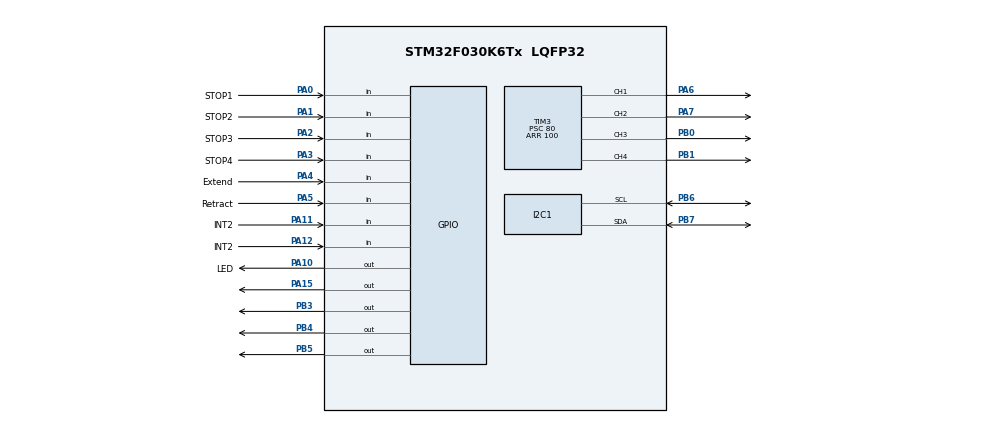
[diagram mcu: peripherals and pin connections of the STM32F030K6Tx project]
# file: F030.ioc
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Mcu.Family=STM32F0
Mcu.Name=STM32F030K6Tx
Mcu.Package=LQFP32
NVIC.TIM14_IRQn=true\:0\:0\:false\:false\:true\:true\:true
PA0.GPIO_Label=STOP1
PA0.Signal=GPIO_Input
PA1.GPIO_Label=STOP2
PA1.Signal=GPIO_Input
PA10.GPIO_Label=LED
PA10.Signal=GPIO_Output
PA11.GPIO_Label=INT2
PA11.Signal=GPIO_Input
PA12.GPIO_Label=INT2
PA12.Signal=GPIO_Input
PA13.Mode=Serial_Wire
PA13.Signal=SYS_SWDIO
PA14.Mode=Serial_Wire
PA14.Signal=SYS_SWCLK
PA15.Signal=GPIO_Output
PA2.GPIO_Label=STOP3
PA2.Signal=GPIO_Input
PA3.GPIO_Label=STOP4
PA3.Signal=GPIO_Input
PA4.GPIO_Label=Extend
PA4.Signal=GPIO_Input
PA5.GPIO_Label=Retract
PA5.Signal=GPIO_Input
PA6.Signal=S_TIM3_CH1
PA7.Signal=S_TIM3_CH2
PB0.Signal=S_TIM3_CH3
PB1.Signal=S_TIM3_CH4
PB3.Signal=GPIO_Output
PB4.Signal=GPIO_Output
PB5.Signal=GPIO_Output
PB6.Mode=I2C
PB6.Signal=I2C1_SCL
PB7.Mode=I2C
PB7.Signal=I2C1_SDA
ProjectManager.HeapSize=0x200
ProjectManager.StackSize=0x400
ProjectManager.TargetToolchain=SW4STM32
SH.S_TIM3_CH1.0=TIM3_CH1,PWM Generation1 CH1
SH.S_TIM3_CH2.0=TIM3_CH2,PWM Generation2 CH2
SH.S_TIM3_CH3.0=TIM3_CH3,PWM Generation3 CH3
SH.S_TIM3_CH4.0=TIM3_CH4,PWM Generation4 CH4
TIM14.Period=36000
TIM14.Prescaler=40000
TIM3.Channel-PWM\ Generation1\ CH1=TIM_CHANNEL_1
TIM3.Channel-PWM\ Generation2\ CH2=TIM_CHANNEL_2
TIM3.Channel-PWM\ Generation3\ CH3=TIM_CHANNEL_3
TIM3.Channel-PWM\ Generation4\ CH4=TIM_CHANNEL_4
TIM3.OCPolarity_1=TIM_OCPOLARITY_LOW
TIM3.OCPolarity_2=TIM_OCPOLARITY_LOW
TIM3.OCPolarity_3=TIM_OCPOLARITY_LOW
TIM3.OCPolarity_4=TIM_OCPOLARITY_LOW
TIM3.Period=100
TIM3.Prescaler=80
TIM3.Pulse-PWM\ Generation1\ CH1=1
TIM3.Pulse-PWM\ Generation2\ CH2=1
TIM3.Pulse-PWM\ Generation3\ CH3=1
TIM3.Pulse-PWM\ Generation4\ CH4=1
VP_TIM14_VS_ClockSourceINT.Mode=Enable_Timer
VP_TIM3_VS_ClockSourceINT.Mode=Internal
board=custom

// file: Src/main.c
/* USER CODE BEGIN Header */
/**
 ******************************************************************************
 * @file           : main.c
 * @brief          : Main program body
 ******************************************************************************
 * @attention
 *
 * <h2><center>&copy; Copyright (c) 2020 STMicroelectronics.
 * All rights reserved.</center></h2>
 *
 * This software component is licensed by ST under BSD 3-Clause license,
 * the "License"; You may not use this file except in compliance with the
 * License. You may obtain a copy of the License at:
 *                        opensource.org/licenses/BSD-3-Clause
 *
 ******************************************************************************
 */
/* USER CODE END Header */

#include "main.h"

/* USER CODE BEGIN PTD */
typedef struct accel {
	int8_t x;
	int8_t y;
	int8_t z;
} acc;

typedef enum error {
	OK = 0, TIMEOUT = 1,
} err;
/* USER CODE END PTD */

I2C_HandleTypeDef hi2c1;

TIM_HandleTypeDef htim3;
TIM_HandleTypeDef htim14;

void SystemClock_Config(void);
static void MX_GPIO_Init(void);
static void MX_TIM3_Init(void);
static void MX_I2C1_Init(void);
static void MX_TIM14_Init(void);
/* USER CODE BEGIN PFP */
acc readacc();
err legstoground();
void c_back_right(uint8_t dir, uint8_t onoff);
void c_back_left(uint8_t dir, uint8_t onoff);
void c_front_right(uint8_t dir, uint8_t onoff);
void c_front_left(uint8_t dir, uint8_t onoff);
err fronttoback();
uint8_t lefttoright();

/* USER CODE END PFP */

/* USER CODE BEGIN 0 */

uint8_t timeout = 0;

void HAL_TIM_PeriodElapsedCallback(TIM_HandleTypeDef *htim) {
	if (htim->Instance == htim14.Instance) {
		timeout = 1;
	}
}

acc readacc() {
	acc axis;
	uint8_t i2cbuffer[8];
	HAL_StatusTypeDef ok = HAL_ERROR;
	//i2cbuffer[0] = 0x28;
	//HAL_I2C_Master_Transmit(&hi2c1,0b0011001<<1,i2cbuffer,1,500);//ask
	//HAL_I2C_Master_Receive(&hi2c1,0b00110011,i2cbuffer,6,500);//get
	while (ok != HAL_OK) {
		ok = HAL_I2C_Mem_Read(&hi2c1, 0b00110010, 0x29, I2C_MEMADD_SIZE_8BIT,
				&i2cbuffer[0], 1, HAL_MAX_DELAY);
	}
	ok = HAL_ERROR;
	while (ok != HAL_OK) {
		ok = HAL_I2C_Mem_Read(&hi2c1, 0b00110010, 0x2b, I2C_MEMADD_SIZE_8BIT,
				&i2cbuffer[1], 1, HAL_MAX_DELAY);
	}
	ok = HAL_ERROR;
	while (ok != HAL_OK) {
		ok = HAL_I2C_Mem_Read(&hi2c1, 0b00110010, 0x2d, I2C_MEMADD_SIZE_8BIT,
				&i2cbuffer[2], 1, HAL_MAX_DELAY);
	}
	//HAL_GPIO_TogglePin(GPIOC,GPIO_PIN_13);
	axis.x = i2cbuffer[0];
	axis.y = i2cbuffer[1];
	axis.z = i2cbuffer[2];
	return axis;
}

err legstoground() {
	acc pos;
	acc init_pos;
	uint8_t kantel_count = 0;
	init_pos = readacc();
	pos = readacc();
	HAL_Delay(1000);
	if (init_pos.y > -3) {
		//start front motors
		init_pos = readacc();
		pos = readacc();
		HAL_TIM_Base_Start_IT(&htim14);
		while (init_pos.y - 2 < pos.y) {
			HAL_GPIO_WritePin(GPIOA, GPIO_PIN_10, 0);
			c_front_left(1, 1);
			HAL_Delay(500);
			c_front_left(1, 0);
			HAL_Delay(500);
			HAL_GPIO_WritePin(GPIOA, GPIO_PIN_10, 1);
			HAL_Delay(500);
			pos = readacc();
			HAL_Delay(1000);
			//wacht tot de grond is geraakt
			if (timeout == 1 || HAL_GPIO_ReadPin(GPIOA, GPIO_PIN_5) == 0) {
				HAL_TIM_Base_Stop_IT(&htim14);
				TIM14->CNT = 0;
				timeout = 0;
				return TIMEOUT;
			}
		}
		HAL_TIM_Base_Stop_IT(&htim14);
		TIM14->CNT = 0;
		c_front_left(0, 1);
		HAL_Delay(500);
		c_front_left(0, 0);
		HAL_Delay(1000);

		init_pos = readacc();
		pos = readacc();
		HAL_TIM_Base_Start_IT(&htim14);
		while (init_pos.y - 2 < pos.y) {
			HAL_GPIO_WritePin(GPIOA, GPIO_PIN_10, 0);
			c_front_right(1, 1);
			HAL_Delay(500);
			c_front_right(1, 0);
			HAL_Delay(500);
			HAL_GPIO_WritePin(GPIOA, GPIO_PIN_10, 1);
			HAL_Delay(500);
			pos = readacc();
			HAL_Delay(1000);
			////wacht tot de grond is geraakt
			if (timeout == 1 || HAL_GPIO_ReadPin(GPIOA, GPIO_PIN_5) == 0) {
				HAL_TIM_Base_Stop_IT(&htim14);
				TIM14->CNT = 0;
				timeout = 0;
				return TIMEOUT;
			}
		}
		HAL_TIM_Base_Stop_IT(&htim14);
		TIM14->CNT = 0;
		c_front_right(0, 1);
		HAL_Delay(500);
		c_front_right(0, 0);

		//kantel
		pos = readacc();
		HAL_TIM_Base_Start_IT(&htim14);
		while (pos.y > -10) {
			HAL_GPIO_WritePin(GPIOA, GPIO_PIN_10, 0);
			c_front_left(1, 1);
			c_front_right(1, 1);
			HAL_Delay(500);
			c_front_left(1, 0);
			c_front_right(1, 0);
			HAL_Delay(500);
			HAL_GPIO_WritePin(GPIOA, GPIO_PIN_10, 1);
			HAL_Delay(500);
			pos = readacc();
			HAL_Delay(1000);
			kantel_count++;
			if (timeout == 1 || HAL_GPIO_ReadPin(GPIOA, GPIO_PIN_5) == 0) {
				HAL_TIM_Base_Stop_IT(&htim14);
				TIM14->CNT = 0;
				timeout = 0;
				return TIMEOUT;
			}
		}
		HAL_TIM_Base_Stop_IT(&htim14);
		TIM14->CNT = 0;
		c_front_left(0, 1);
		c_front_right(0, 1);
		HAL_Delay(500);
		c_front_left(0, 0);
		c_front_right(0, 0);
		HAL_Delay(2000);

		//start back
		init_pos = readacc();
		pos = readacc();
		HAL_TIM_Base_Start_IT(&htim14);
		while (init_pos.y + 2 > pos.y) {
			HAL_GPIO_WritePin(GPIOA, GPIO_PIN_10, 0);
			c_back_left(1, 1);
			HAL_Delay(500);
			c_back_left(1, 0);
			HAL_Delay(500);
			HAL_GPIO_WritePin(GPIOA, GPIO_PIN_10, 1);
			HAL_Delay(500);
			pos = readacc();
			HAL_Delay(1000);
			//wacht tot de grond is geraakt
			if (timeout == 1 || HAL_GPIO_ReadPin(GPIOA, GPIO_PIN_5) == 0) {
				HAL_TIM_Base_Stop_IT(&htim14);
				TIM14->CNT = 0;
				timeout = 0;
				return TIMEOUT;
			}
		}
		HAL_TIM_Base_Stop_IT(&htim14);
		TIM14->CNT = 0;
		c_back_left(0, 1);
		HAL_Delay(500);
		c_back_left(0, 0);

		HAL_Delay(1000);
		init_pos = readacc();
		pos = readacc();
		HAL_TIM_Base_Start_IT(&htim14);
		while (init_pos.y + 2 > pos.y && init_pos.x + 2 > pos.x) {
			HAL_GPIO_WritePin(GPIOA, GPIO_PIN_10, 0);
			c_back_right(1, 1);
			HAL_Delay(500);
			c_back_right(1, 0);
			HAL_Delay(500);
			HAL_GPIO_WritePin(GPIOA, GPIO_PIN_10, 1);
			HAL_Delay(500);
			pos = readacc();
			HAL_Delay(1000);
			//wacht tot de grond is geraakt
			if (timeout == 1 || HAL_GPIO_ReadPin(GPIOA, GPIO_PIN_5) == 0) {
				HAL_TIM_Base_Stop_IT(&htim14);
				TIM14->CNT = 0;
				timeout = 0;
				return TIMEOUT;
			}
		}
		HAL_TIM_Base_Stop_IT(&htim14);
		TIM14->CNT = 0;
		c_back_right(0, 1);
		HAL_Delay(500);
		c_back_right(0, 0);
	} else {
		//start back
		init_pos = readacc();
		pos = readacc();
		HAL_TIM_Base_Start_IT(&htim14);
		while (init_pos.y + 2 > pos.y) {
			HAL_GPIO_WritePin(GPIOA, GPIO_PIN_10, 0);
			c_back_left(1, 1);
			HAL_Delay(500);
			c_back_left(1, 0);
			HAL_Delay(500);
			HAL_GPIO_WritePin(GPIOA, GPIO_PIN_10, 1);
			HAL_Delay(500);
			pos = readacc();
			HAL_Delay(1000);
			//wacht tot de grond is geraakt
			if (timeout == 1 || HAL_GPIO_ReadPin(GPIOA, GPIO_PIN_5) == 0) {
				HAL_TIM_Base_Stop_IT(&htim14);
				TIM14->CNT = 0;
				timeout = 0;
				return TIMEOUT;
			}
		}
		HAL_TIM_Base_Stop_IT(&htim14);
		TIM14->CNT = 0;
		c_back_left(0, 1);
		HAL_Delay(500);
		c_back_left(0, 0);

		init_pos = readacc();
		pos = readacc();
		HAL_TIM_Base_Start_IT(&htim14);
		while (init_pos.y + 2 > pos.y) {
			HAL_GPIO_WritePin(GPIOA, GPIO_PIN_10, 0);
			c_back_right(1, 1);
			HAL_Delay(500);
			c_back_right(1, 0);
			HAL_Delay(500);
			HAL_GPIO_WritePin(GPIOA, GPIO_PIN_10, 1);
			HAL_Delay(500);
			pos = readacc();
			HAL_Delay(1000);
			////wacht tot de grond is geraakt
			if (timeout == 1 || HAL_GPIO_ReadPin(GPIOA, GPIO_PIN_5) == 0) {
				HAL_TIM_Base_Stop_IT(&htim14);
				TIM14->CNT = 0;
				timeout = 0;
				return TIMEOUT;
			}
		}
		HAL_TIM_Base_Stop_IT(&htim14);
		TIM14->CNT = 0;
		c_back_right(0, 1);
		HAL_Delay(500);
		c_back_right(0, 0);

		//kantel
		pos = readacc();
		HAL_TIM_Base_Start_IT(&htim14);
		while (pos.y < 0) {
			HAL_GPIO_WritePin(GPIOA, GPIO_PIN_10, 0);
			c_back_left(1, 1);
			c_back_right(1, 1);
			HAL_Delay(500);
			c_back_left(1, 0);
			c_back_right(1, 0);
			HAL_Delay(500);
			HAL_GPIO_WritePin(GPIOA, GPIO_PIN_10, 1);
			HAL_Delay(500);
			pos = readacc();
			HAL_Delay(1000);
			if (timeout == 1 || HAL_GPIO_ReadPin(GPIOA, GPIO_PIN_5) == 0) {
				HAL_TIM_Base_Stop_IT(&htim14);
				TIM14->CNT = 0;
				timeout = 0;
				return TIMEOUT;
			}
		}
		HAL_TIM_Base_Stop_IT(&htim14);
		TIM14->CNT = 0;
		c_back_left(0, 1);
		c_back_right(0, 1);
		HAL_Delay(1000);
		c_back_left(0, 0);
		c_back_right(0, 0);
		HAL_Delay(2000);

		//start front
		init_pos = readacc();
		pos = readacc();
		HAL_TIM_Base_Start_IT(&htim14);
		while (init_pos.y - 2 < pos.y) {
			HAL_GPIO_WritePin(GPIOA, GPIO_PIN_10, 0);
			c_front_left(1, 1);
			HAL_Delay(500);
			c_front_left(1, 0);
			HAL_Delay(500);
			HAL_GPIO_WritePin(GPIOA, GPIO_PIN_10, 1);
			HAL_Delay(500);
			pos = readacc();
			HAL_Delay(1000);
			//wacht tot de grond is geraakt
			if (timeout == 1 || HAL_GPIO_ReadPin(GPIOA, GPIO_PIN_5) == 0) {
				HAL_TIM_Base_Stop_IT(&htim14);
				TIM14->CNT = 0;
				timeout = 0;
				return TIMEOUT;
			}
		}
		HAL_TIM_Base_Stop_IT(&htim14);
		TIM14->CNT = 0;
		c_front_left(0, 1);
		HAL_Delay(500);
		c_front_left(0, 0);

		init_pos = readacc();
		pos = readacc();
		HAL_TIM_Base_Start_IT(&htim14);
		while (init_pos.y - 2 < pos.y || init_pos.x + 2 < pos.x) {
			HAL_GPIO_WritePin(GPIOA, GPIO_PIN_10, 0);
			c_front_right(1, 1);
			HAL_Delay(500);
			c_front_right(1, 0);
			HAL_Delay(500);
			HAL_GPIO_WritePin(GPIOA, GPIO_PIN_10, 1);
			HAL_Delay(500);
			pos = readacc();
			HAL_Delay(1000);
			//wacht tot de grond is geraakt
			if (timeout == 1 || HAL_GPIO_ReadPin(GPIOA, GPIO_PIN_5) == 0) {
				HAL_TIM_Base_Stop_IT(&htim14);
				TIM14->CNT = 0;
				timeout = 0;
				return TIMEOUT;
			}
		}
		HAL_TIM_Base_Stop_IT(&htim14);
		TIM14->CNT = 0;
		c_front_right(0, 1);
		HAL_Delay(500);
		c_front_right(0, 0);

	}
	return 0;
}

void legsup() {
	c_back_right(0, 1);
	c_back_left(0, 1);
	c_front_right(0, 1);
	c_front_left(0, 1);
	HAL_Delay(20000);
	c_back_right(0, 0);
	c_back_left(0, 0);
	c_front_right(0, 0);
	c_front_left(0, 0);
	HAL_GPIO_WritePin(GPIOA, GPIO_PIN_10, 0);
}

err fronttoback() {
	acc pos;

//front fix

	pos = readacc();
	HAL_TIM_Base_Start_IT(&htim14);
	while (pos.y < -2 || pos.y > 0) {
		HAL_GPIO_WritePin(GPIOA, GPIO_PIN_10, 0);
		if (pos.y < -1) {
			c_back_left(1, 1);
			c_back_right(1, 1);
			HAL_Delay(200);
			c_back_left(1, 0);
			c_back_right(1, 0);
			HAL_Delay(800);
			HAL_GPIO_WritePin(GPIOA, GPIO_PIN_10, 1);
			HAL_Delay(1200);
			pos = readacc();
			HAL_Delay(1000);
			if (timeout == 1 || HAL_GPIO_ReadPin(GPIOA, GPIO_PIN_5) == 0) {
				HAL_TIM_Base_Stop_IT(&htim14);
				TIM14->CNT = 0;
				timeout = 0;
				return TIMEOUT;
			}
		} else {
			c_front_left(1, 1);
			c_front_right(1, 1);
			HAL_Delay(200);
			c_front_left(1, 0);
			c_front_right(1, 0);
			HAL_Delay(800);
			HAL_GPIO_WritePin(GPIOA, GPIO_PIN_10, 1);
			HAL_Delay(1200);
			pos = readacc();
			HAL_Delay(1000);
			if (timeout == 1 || HAL_GPIO_ReadPin(GPIOA, GPIO_PIN_5) == 0) {
				HAL_TIM_Base_Stop_IT(&htim14);
				TIM14->CNT = 0;
				timeout = 0;
				return TIMEOUT;
			}

		}
	}
	HAL_TIM_Base_Stop_IT(&htim14);
	TIM14->CNT = 0;
	return OK;
}

uint8_t lefttoright() {
	acc pos;
	uint8_t last_up = 0; //1 = right | 2 = left
//front fix
	pos = readacc();
	HAL_TIM_Base_Start_IT(&htim14);
	while (pos.x < -1 || pos.x > 1) {
		HAL_GPIO_WritePin(GPIOA, GPIO_PIN_10, 0);
		if (pos.x < 0) {
			c_front_right(1, 1);
			c_back_right(1, 1);
			HAL_Delay(200);
			c_front_right(1, 0);
			c_back_right(1, 0);
			HAL_Delay(800);
			HAL_GPIO_WritePin(GPIOA, GPIO_PIN_10, 1);
			HAL_Delay(1200);
			pos = readacc();
			HAL_Delay(1000);
			last_up = 1;
		} else {
			c_front_left(1, 1);
			c_back_left(1, 1);
			HAL_Delay(200);
			c_front_left(1, 0);
			c_back_left(1, 0);
			HAL_Delay(800);
			HAL_GPIO_WritePin(GPIOA, GPIO_PIN_10, 1);
			HAL_Delay(1200);
			pos = readacc();
			HAL_Delay(1000);
			last_up = 2;
		}
		if (timeout == 1 || HAL_GPIO_ReadPin(GPIOA, GPIO_PIN_5) == 0) {
			HAL_TIM_Base_Stop_IT(&htim14);
			TIM14->CNT = 0;
			timeout = 0;
			return 0;
		}
	}
	HAL_TIM_Base_Stop_IT(&htim14);
	TIM14->CNT = 0;
	return last_up;
}

err legs_down_last(uint8_t leg_fix) {
	acc pos, init_pos;
	init_pos = readacc();
	pos = readacc();
	if (leg_fix == 1) {
		HAL_TIM_Base_Start_IT(&htim14);
		while (init_pos.x - 2 < pos.x) {
			HAL_GPIO_WritePin(GPIOA, GPIO_PIN_10, 0);
			c_front_left(1, 1);
			c_back_left(1, 1);
			HAL_Delay(500);
			c_front_left(1, 0);
			c_back_left(1, 0);
			HAL_Delay(800);
			HAL_GPIO_WritePin(GPIOA, GPIO_PIN_10, 1);
			HAL_Delay(1200);
			pos = readacc();
			HAL_Delay(1000);
			if (timeout == 1 || HAL_GPIO_ReadPin(GPIOA, GPIO_PIN_5) == 0) {
				HAL_TIM_Base_Stop_IT(&htim14);
				TIM14->CNT = 0;
				timeout = 0;
				return TIMEOUT;
			}
		}
		HAL_TIM_Base_Stop_IT(&htim14);
		TIM14->CNT = 0;
	} else if (leg_fix == 2) {
		HAL_TIM_Base_Start_IT(&htim14);
		while (init_pos.x + 2 > pos.x) {
			HAL_GPIO_WritePin(GPIOA, GPIO_PIN_10, 0);
			c_front_right(1, 1);
			c_back_right(1, 1);
			HAL_Delay(500);
			c_front_right(1, 0);
			c_back_right(1, 0);
			HAL_Delay(800);
			HAL_GPIO_WritePin(GPIOA, GPIO_PIN_10, 1);
			HAL_Delay(1200);
			pos = readacc();
			HAL_Delay(1000);
			if (timeout == 1 || HAL_GPIO_ReadPin(GPIOA, GPIO_PIN_5) == 0) {
				HAL_TIM_Base_Stop_IT(&htim14);
				TIM14->CNT = 0;
				timeout = 0;
				return TIMEOUT;
			}
		}
		HAL_TIM_Base_Stop_IT(&htim14);
		TIM14->CNT = 0;
	} else {
	}
	return OK;
}

void c_back_right(uint8_t dir, uint8_t onoff) {
	HAL_GPIO_WritePin(GPIOA, GPIO_PIN_15, dir);
	if (onoff == 1) {
		HAL_TIM_PWM_Start(&htim3, TIM_CHANNEL_3);
	} else {
		HAL_TIM_PWM_Stop(&htim3, TIM_CHANNEL_3);
	}
}

void c_front_right(uint8_t dir, uint8_t onoff) {
	HAL_GPIO_WritePin(GPIOB, GPIO_PIN_4, dir);
	if (onoff == 1) {
		HAL_TIM_PWM_Start(&htim3, TIM_CHANNEL_1);
	} else {
		HAL_TIM_PWM_Stop(&htim3, TIM_CHANNEL_1);
	}
}

void c_front_left(uint8_t dir, uint8_t onoff) {
	HAL_GPIO_WritePin(GPIOB, GPIO_PIN_5, dir);
	if (onoff == 1) {
		HAL_TIM_PWM_Start(&htim3, TIM_CHANNEL_2);
	} else {
		HAL_TIM_PWM_Stop(&htim3, TIM_CHANNEL_2);
	}
}

void c_back_left(uint8_t dir, uint8_t onoff) {
	HAL_GPIO_WritePin(GPIOB, GPIO_PIN_3, dir);
	if (onoff == 1) {
		HAL_TIM_PWM_Start(&htim3, TIM_CHANNEL_4);
	} else {
		HAL_TIM_PWM_Stop(&htim3, TIM_CHANNEL_4);
	}
}

uint8_t debounce100(GPIO_TypeDef* GPIOx, uint16_t GPIO_Pin) {
	uint8_t counter = 0, timeout = 0, last_state = 0;
	HAL_Delay(1);
	if (HAL_GPIO_ReadPin(GPIOx, GPIO_Pin) == 0) {
		while (counter < 100) {
			timeout++;
			if (HAL_GPIO_ReadPin(GPIOx, GPIO_Pin) == last_state) {
				counter++;
			} else {
				counter = 0;
			}
			last_state = HAL_GPIO_ReadPin(GPIOx, GPIO_Pin);
			if (timeout == 500) {
				break;
			}
		}
		if (counter == 100) {
			return 1;
		} else {
			return 0;
		}
	} else {
		return 0;
	}
}

void init() {
	uint8_t buffer[8];
	buffer[0] = 0x20;
	buffer[1] = 0b01000111;
	HAL_StatusTypeDef status;
	status = HAL_I2C_Master_Transmit(&hi2c1, 0b0011001 << 1, buffer, 2, 500);
	while (status != HAL_OK) {
		status = HAL_I2C_Master_Transmit(&hi2c1, 0b0011000 << 1, buffer, 2,
				HAL_MAX_DELAY);
	}	// config acc

	// initial false interupt fix
	HAL_TIM_Base_Start_IT(&htim14);
	HAL_Delay(10);
	HAL_TIM_Base_Stop_IT(&htim14);
	TIM14->CNT = 0;
	timeout = 0;
}
/* USER CODE END 0 */

int main(void) {

	/* MCU Configuration--------------------------------------------------------*/

	/* Reset of all peripherals, Initializes the Flash interface and the Systick. */
	HAL_Init();

	/* Configure the system clock */
	SystemClock_Config();

	/* Initialize all configured peripherals */
	MX_GPIO_Init();
	MX_TIM3_Init();
	MX_I2C1_Init();
	MX_TIM14_Init();
	/* USER CODE BEGIN 2 */
	init();

	uint8_t leg_fix;
	err status_legs;
	/* USER CODE END 2 */

	/* Infinite loop */
	while (1) {

		/* USER CODE BEGIN 3 */
		if (debounce100(GPIOA, GPIO_PIN_4)) {
			HAL_GPIO_WritePin(GPIOA, GPIO_PIN_10, 0);
			status_legs = legstoground();
			if (status_legs == OK) {
				status_legs = fronttoback();
				if (status_legs == OK) {
					leg_fix = lefttoright();
					if (leg_fix > 0) {
						legs_down_last(leg_fix);
						status_legs = fronttoback();
						if (status_legs == OK) {
							leg_fix = lefttoright();
							if (leg_fix == 0) {
								legsup();
							} else {
								HAL_GPIO_WritePin(GPIOA, GPIO_PIN_10, 1);
							}
						} else {
							legsup();
						}
					} else {
						legsup();
					}
				} else {
					legsup();
				}
			} else {
				legsup();
			}
		}
		if (debounce100(GPIOA, GPIO_PIN_5)) {
			legsup();
		}

	}
	/* USER CODE END 3 */
}

void SystemClock_Config(void) {
	RCC_OscInitTypeDef RCC_OscInitStruct = { 0 };
	RCC_ClkInitTypeDef RCC_ClkInitStruct = { 0 };
	RCC_PeriphCLKInitTypeDef PeriphClkInit = { 0 };

	/** Initializes the CPU, AHB and APB busses clocks
	 */
	RCC_OscInitStruct.OscillatorType = RCC_OSCILLATORTYPE_HSI;
	RCC_OscInitStruct.HSIState = RCC_HSI_ON;
	RCC_OscInitStruct.HSICalibrationValue = RCC_HSICALIBRATION_DEFAULT;
	RCC_OscInitStruct.PLL.PLLState = RCC_PLL_NONE;
	if (HAL_RCC_OscConfig(&RCC_OscInitStruct) != HAL_OK) {
		Error_Handler();
	}
	/** Initializes the CPU, AHB and APB busses clocks
	 */
	RCC_ClkInitStruct.ClockType = RCC_CLOCKTYPE_HCLK | RCC_CLOCKTYPE_SYSCLK
			| RCC_CLOCKTYPE_PCLK1;
	RCC_ClkInitStruct.SYSCLKSource = RCC_SYSCLKSOURCE_HSI;
	RCC_ClkInitStruct.AHBCLKDivider = RCC_SYSCLK_DIV1;
	RCC_ClkInitStruct.APB1CLKDivider = RCC_HCLK_DIV1;

	if (HAL_RCC_ClockConfig(&RCC_ClkInitStruct, FLASH_LATENCY_0) != HAL_OK) {
		Error_Handler();
	}
	PeriphClkInit.PeriphClockSelection = RCC_PERIPHCLK_I2C1;
	PeriphClkInit.I2c1ClockSelection = RCC_I2C1CLKSOURCE_HSI;
	if (HAL_RCCEx_PeriphCLKConfig(&PeriphClkInit) != HAL_OK) {
		Error_Handler();
	}
}

static void MX_I2C1_Init(void) {

	hi2c1.Instance = I2C1;
	hi2c1.Init.Timing = 0x2000090E;
	hi2c1.Init.OwnAddress1 = 0;
	hi2c1.Init.AddressingMode = I2C_ADDRESSINGMODE_7BIT;
	hi2c1.Init.DualAddressMode = I2C_DUALADDRESS_DISABLE;
	hi2c1.Init.OwnAddress2 = 0;
	hi2c1.Init.OwnAddress2Masks = I2C_OA2_NOMASK;
	hi2c1.Init.GeneralCallMode = I2C_GENERALCALL_DISABLE;
	hi2c1.Init.NoStretchMode = I2C_NOSTRETCH_DISABLE;
	if (HAL_I2C_Init(&hi2c1) != HAL_OK) {
		Error_Handler();
	}
	/** Configure Analogue filter
	 */
	if (HAL_I2CEx_ConfigAnalogFilter(&hi2c1, I2C_ANALOGFILTER_ENABLE)
			!= HAL_OK) {
		Error_Handler();
	}
	/** Configure Digital filter
	 */
	if (HAL_I2CEx_ConfigDigitalFilter(&hi2c1, 0) != HAL_OK) {
		Error_Handler();
	}

}

static void MX_TIM3_Init(void) {

	TIM_ClockConfigTypeDef sClockSourceConfig = { 0 };
	TIM_MasterConfigTypeDef sMasterConfig = { 0 };
	TIM_OC_InitTypeDef sConfigOC = { 0 };

	htim3.Instance = TIM3;
	htim3.Init.Prescaler = 80;
	htim3.Init.CounterMode = TIM_COUNTERMODE_UP;
	htim3.Init.Period = 100;
	htim3.Init.ClockDivision = TIM_CLOCKDIVISION_DIV1;
	htim3.Init.AutoReloadPreload = TIM_AUTORELOAD_PRELOAD_DISABLE;
	if (HAL_TIM_Base_Init(&htim3) != HAL_OK) {
		Error_Handler();
	}
	sClockSourceConfig.ClockSource = TIM_CLOCKSOURCE_INTERNAL;
	if (HAL_TIM_ConfigClockSource(&htim3, &sClockSourceConfig) != HAL_OK) {
		Error_Handler();
	}
	if (HAL_TIM_PWM_Init(&htim3) != HAL_OK) {
		Error_Handler();
	}
	sMasterConfig.MasterOutputTrigger = TIM_TRGO_RESET;
	sMasterConfig.MasterSlaveMode = TIM_MASTERSLAVEMODE_DISABLE;
	if (HAL_TIMEx_MasterConfigSynchronization(&htim3, &sMasterConfig)
			!= HAL_OK) {
		Error_Handler();
	}
	sConfigOC.OCMode = TIM_OCMODE_PWM1;
	sConfigOC.Pulse = 1;
	sConfigOC.OCPolarity = TIM_OCPOLARITY_LOW;
	sConfigOC.OCFastMode = TIM_OCFAST_DISABLE;
	if (HAL_TIM_PWM_ConfigChannel(&htim3, &sConfigOC, TIM_CHANNEL_1)
			!= HAL_OK) {
		Error_Handler();
	}
	if (HAL_TIM_PWM_ConfigChannel(&htim3, &sConfigOC, TIM_CHANNEL_2)
			!= HAL_OK) {
		Error_Handler();
	}
	if (HAL_TIM_PWM_ConfigChannel(&htim3, &sConfigOC, TIM_CHANNEL_3)
			!= HAL_OK) {
		Error_Handler();
	}
	if (HAL_TIM_PWM_ConfigChannel(&htim3, &sConfigOC, TIM_CHANNEL_4)
			!= HAL_OK) {
		Error_Handler();
	}
	HAL_TIM_MspPostInit(&htim3);

}

static void MX_TIM14_Init(void) {

	htim14.Instance = TIM14;
	htim14.Init.Prescaler = 40000;
	htim14.Init.CounterMode = TIM_COUNTERMODE_UP;
	htim14.Init.Period = 36000;
	htim14.Init.ClockDivision = TIM_CLOCKDIVISION_DIV1;
	htim14.Init.AutoReloadPreload = TIM_AUTORELOAD_PRELOAD_DISABLE;
	if (HAL_TIM_Base_Init(&htim14) != HAL_OK) {
		Error_Handler();
	}

}

static void MX_GPIO_Init(void) {
	GPIO_InitTypeDef GPIO_InitStruct = { 0 };

	/* GPIO Ports Clock Enable */
	__HAL_RCC_GPIOA_CLK_ENABLE()
	;
	__HAL_RCC_GPIOB_CLK_ENABLE()
	;

	/*Configure GPIO pin Output Level */
	HAL_GPIO_WritePin(GPIOA, LED_Pin | GPIO_PIN_15, GPIO_PIN_RESET);

	/*Configure GPIO pin Output Level */
	HAL_GPIO_WritePin(GPIOB, GPIO_PIN_3 | GPIO_PIN_4 | GPIO_PIN_5,
			GPIO_PIN_RESET);

	/*Configure GPIO pins : STOP1_Pin STOP2_Pin STOP3_Pin STOP4_Pin
	 Extend_Pin Retract_Pin INT2_Pin INT2A12_Pin */
	GPIO_InitStruct.Pin = STOP1_Pin | STOP2_Pin | STOP3_Pin | STOP4_Pin
			| Extend_Pin | Retract_Pin | INT2_Pin | INT2A12_Pin;
	GPIO_InitStruct.Mode = GPIO_MODE_INPUT;
	GPIO_InitStruct.Pull = GPIO_NOPULL;
	HAL_GPIO_Init(GPIOA, &GPIO_InitStruct);

	/*Configure GPIO pins : LED_Pin PA15 */
	GPIO_InitStruct.Pin = LED_Pin | GPIO_PIN_15;
	GPIO_InitStruct.Mode = GPIO_MODE_OUTPUT_PP;
	GPIO_InitStruct.Pull = GPIO_NOPULL;
	GPIO_InitStruct.Speed = GPIO_SPEED_FREQ_LOW;
	HAL_GPIO_Init(GPIOA, &GPIO_InitStruct);

	/*Configure GPIO pins : PB3 PB4 PB5 */
	GPIO_InitStruct.Pin = GPIO_PIN_3 | GPIO_PIN_4 | GPIO_PIN_5;
	GPIO_InitStruct.Mode = GPIO_MODE_OUTPUT_PP;
	GPIO_InitStruct.Pull = GPIO_NOPULL;
	GPIO_InitStruct.Speed = GPIO_SPEED_FREQ_LOW;
	HAL_GPIO_Init(GPIOB, &GPIO_InitStruct);

}

void Error_Handler(void) {
}

/************************ (C) COPYRIGHT STMicroelectronics *****END OF FILE****/
